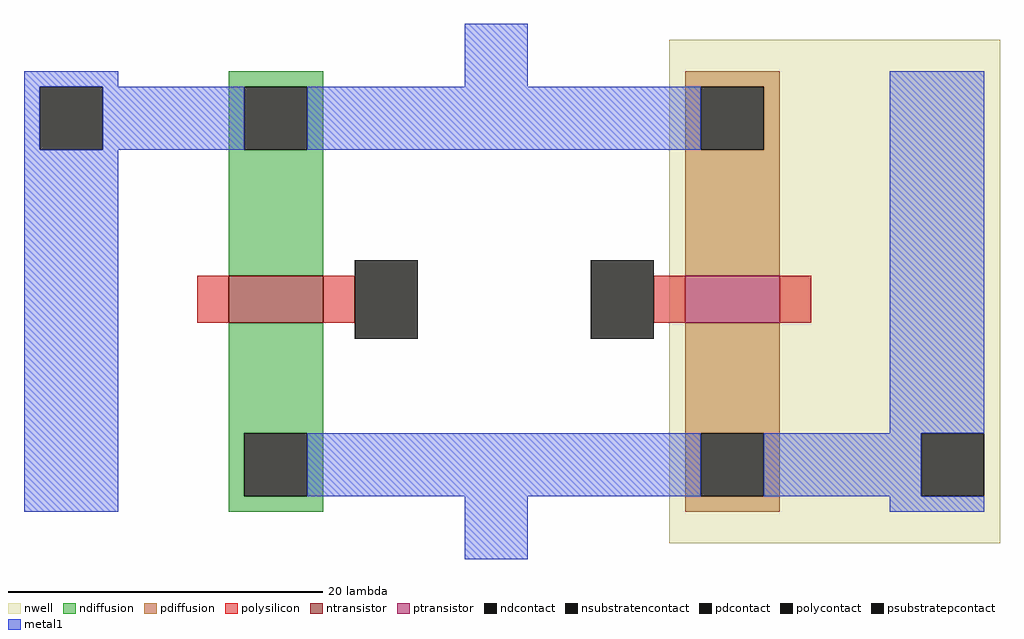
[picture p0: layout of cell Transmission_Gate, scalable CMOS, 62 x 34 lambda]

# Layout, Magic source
magic
tech scmos
<< nwell >>
rect 20 -10 41 22
<< polysilicon >>
rect -10 4 -8 7
rect -2 4 0 7
rect 19 4 21 7
rect 27 4 29 7
<< ndiffusion >>
rect -8 19 -2 20
rect -8 15 -7 19
rect -3 15 -2 19
rect -8 7 -2 15
rect -8 -3 -2 4
rect -8 -7 -7 -3
rect -3 -7 -2 -3
rect -8 -8 -2 -7
<< pdiffusion >>
rect 21 19 27 20
rect 21 15 22 19
rect 26 15 27 19
rect 21 7 27 15
rect 21 -3 27 4
rect 21 -7 22 -3
rect 26 -7 27 -3
rect 21 -8 27 -7
<< metal1 >>
rect -21 19 -15 20
rect 7 19 11 23
rect -21 15 -20 19
rect -16 15 -7 19
rect -3 15 22 19
rect -21 -8 -15 15
rect 34 -3 40 20
rect -3 -7 22 -3
rect 26 -7 36 -3
rect 7 -11 11 -7
rect 34 -8 40 -7
<< ntransistor >>
rect -8 4 -2 7
<< ptransistor >>
rect 21 4 27 7
<< polycontact >>
rect 0 3 4 8
rect 15 3 19 8
<< ndcontact >>
rect -7 15 -3 19
rect -7 -7 -3 -3
<< pdcontact >>
rect 22 15 26 19
rect 22 -7 26 -3
<< psubstratepcontact >>
rect -20 15 -16 19
<< nsubstratencontact >>
rect 36 -7 40 -3
<< end >>
